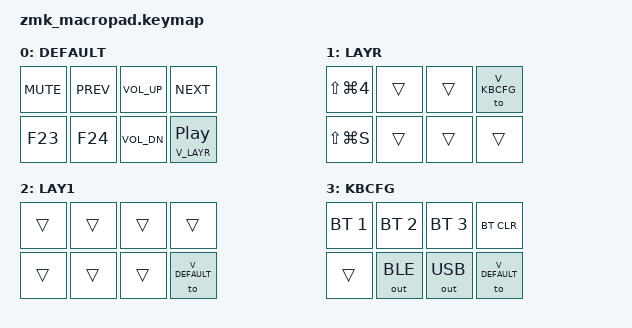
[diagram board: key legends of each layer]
#include <behaviors.dtsi>
#include <dt-bindings/zmk/keys.h>
#include <dt-bindings/zmk/bt.h>
#include <dt-bindings/zmk/outputs.h>


#define	V_DEFAULT	0
#define	V_LAYR		1
#define V_LAY1		2
#define V_KBCFG		3
#define V_MAC_SS	LS(LG(N4))
#define V_WIN_SS	LS(LG(S))
#define XX		&trans
#define V_HOME		&to V_DEFAULT

/ {
    keymap
    {
        compatible = "zmk,keymap";

	DEFAULT {
	//LAYER 0
	//    ----------------------------
	//    | MUTE | PREV | VOL+ | NEXT |
	//    |------+------+------+------|
	//    | F23  |  F24 | VOL- | LAYR |
	//    |	     |	    |	   | PLAY |
	//    ----------------------------
	  bindings = <
               &kp C_MUTE	&kp C_PREV	&kp C_VOL_UP	&kp C_NEXT
	       &kp F23		&kp F24		&kp C_VOL_DN	&lt V_LAYR C_PLAY_PAUSE 
            >;
        };

	LAYR {
	//LAYER 1
	//     ------------------------------
	//    | MCSS |  TRNS  | TRNS | KBCFG |
	//    |------+--------+------+-------|
	//    | WNSS |  TRNS  | TRNS | TRNS  |
	//     ------------------------------
	  bindings = <
               &kp V_MAC_SS	&trans	&trans	&to V_KBCFG
	       &kp V_WIN_SS	&trans	&trans	&trans
            >;
        };

	LAY1 {
	//LAYER 2
	//     ----------------------------
	//    | TRNS | TRNS | TRNS | TRNS  |
	//    |------+------+------+-------|
	//    | TRNS | TRNS | TRNS | DF_LY |
	//     ----------------------------
	  bindings = <
               XX	XX	XX	XX
	       XX	XX	XX	V_HOME 
            >;
        };
	
	KBCFG {
	//LAYER 3
	//     ----------------------------
	//    | BT_1 | BT_2 | BT_3 | BTCLR |
	//    |------+------+------+-------|
	//    | TRNS | OBLE | OUSB | DF_LY |
	//     ----------------------------
	  bindings = <
               &bt BT_SEL 1	&bt BT_SEL 2	&bt BT_SEL 3	&bt BT_CLR
	       XX		&out OUT_BLE	&out OUT_USB	V_HOME
            >;
        };
    };
};
